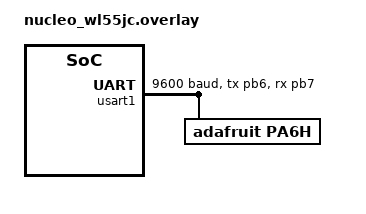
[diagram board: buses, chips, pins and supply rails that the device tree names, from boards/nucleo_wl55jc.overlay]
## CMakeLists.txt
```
cmake_minimum_required(VERSION 3.20.0)

list(APPEND EXTRA_ZEPHYR_MODULES "${CMAKE_CURRENT_SOURCE_DIR}/../..")

find_package(Zephyr REQUIRED HINTS $ENV{ZEPHYR_BASE})
project(pa6h_uart)

target_sources(app PRIVATE src/main.c)
```

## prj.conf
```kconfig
CONFIG_PA6H=y
CONFIG_SERIAL=y
CONFIG_UART_INTERRUPT_DRIVEN=y

# Referencia zephyr/samples/sensor/sht3xd/prj.conf
CONFIG_STDOUT_CONSOLE=y

# logging
CONFIG_LOG=y
CONFIG_SENSOR_LOG_LEVEL_DBG=y
CONFIG_LOG_MODE_IMMEDIATE=y

# Necesario para que se incluya el sensor
CONFIG_SENSOR=y
CONFIG_CBPRINTF_FP_SUPPORT=y
```

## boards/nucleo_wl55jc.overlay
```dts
/* USART1: PB6/D1 is TX, PB7/D0 is RX. Connect both to the PA6H. */
&usart1 {
	pinctrl-0 = <&usart1_tx_pb6 &usart1_rx_pb7>;
	pinctrl-names = "default";
	status = "okay";
	current-speed = <9600>;

	pa6h: pa6h {
		compatible = "adafruit,pa6h";
		status = "okay";
	};
};
```

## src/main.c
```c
#include <errno.h>
#include <string.h>
#include <zephyr/device.h>
#include <zephyr/kernel.h>
#include <zephyr/sys/printk.h>
#include <pa6h.h>

static void configure_gps(const struct device *gps)
{
	// GGA sentences only, at 1 Hz
	pa6h_send_command(gps, PMTK_SET_NMEA_OUTPUT_GGA);
	pa6h_send_command(gps, PMTK_SET_NMEA_UPDATE_1HZ);
}

int main(void)
{
	const struct device *gps = DEVICE_DT_GET_ONE(adafruit_pa6h);
	pa6h_nmea_sentence sentence;

	if (!device_is_ready(gps)) {
		printk("PA6H device not ready\n");
		return 0;
	}
	// Allow the GPS module to initialize before sending commands
	k_sleep(K_SECONDS(1));
	configure_gps(gps);

	printk("PA6H ready; forwarding raw NMEA sentences\n");
	while (true) {
		int err = pa6h_read_sentence(gps, &sentence, K_MSEC(1200));
		if (err == 0) {
			if (strncmp(sentence + 3, "GGA", 3) == 0) {
				printk("%s\n", sentence);
			} else if (strncmp(sentence, "$PMTK", 5) != 0) {
				// A power cycle makes the module fall back to its default output
				printk("Unexpected sentence, reconfiguring PA6H\n");
				configure_gps(gps);
			}
		} else if (err != -EAGAIN) {
			printk("Could not read NMEA sentence: %d\n", err);
		}
	}
}
```
